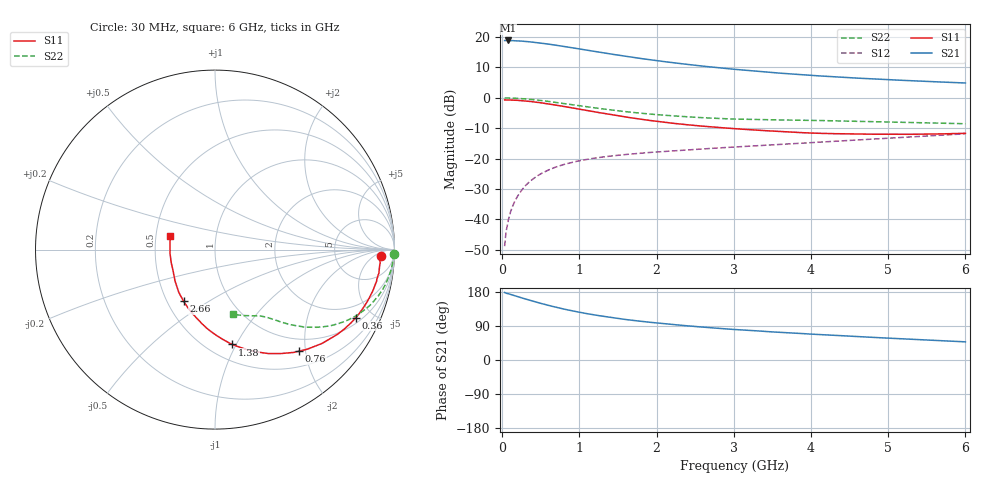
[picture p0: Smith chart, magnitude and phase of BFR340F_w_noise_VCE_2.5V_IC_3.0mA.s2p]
! Infineon Technologies  Discrete & RF Semiconductors
! BFR340F
! VCE =  2.5 V,  IC =  3.0 mA
! Common Emitter S-Parameters:  Nov 2015
# GHz  S  MA  R  50
!  f  S11  S21  S12  S22
! GHz  MAG  ANG  MAG  ANG  MAG  ANG  MAG  ANG
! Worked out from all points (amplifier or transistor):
!   206 points, 30 MHz to 6 GHz, reference 50 ohm
!   highest |S21| = 18.9 dB at 70 MHz (marker M1)
!   |S21| within 3 dB of that: start of sweep to 1.05 GHz
!   unconditionally stable (mu >= 1): 3.932 GHz to end of sweep
!   at 200 MHz: K = 0.08, MSG = 25.5 dB, |S12| = -32.3 dB
!   at 1.56 GHz: K = 0.61, MSG = 16.3 dB, |S12| = -18.8 dB
!   at 6 GHz: K = 1.02, MAG = 7.4 dB, |S12| = -11.8 dB
!   lowest NFmin = 0.90 dB at 450 MHz
!   S11 on the Smith chart (normalised r, x): 30 MHz: 20, -10; 360 MHz: 1.26, -3.99; 760 MHz: 0.77, -1.88; 1.38 GHz: 0.65, -0.97; 2.66 GHz: 0.61, -0.39; 6 GHz: 0.60, +0.10
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0.03  0.924 -2.2  8.791 178.2  0.0036 89.3  0.9948 -1.3
0.05  0.9203 -3.7  8.744 176.2  0.0063 88.7  0.9943 -2.3
0.07  0.9217 -5.3  8.811 175.1  0.0085 86.9  0.9939 -3.2
0.08  0.9215 -5.9  8.769 174.9  0.0099 86.3  0.9934 -3.7
0.11  0.9232 -8.1  8.74 173.0  0.0136 85.1  0.9909 -5.0
0.2  0.9087 -14.7  8.68 167.2  0.0242 81.6  0.9791 -9.1
0.36  0.8716 -25.8  8.357 157.4  0.0421 75.4  0.9446 -16.0
0.48  0.8346 -33.6  8.027 150.5  0.0542 71.2  0.9105 -20.6
0.6  0.7933 -41.2  7.671 144.0  0.0649 67.5  0.8721 -24.8
0.76  0.7347 -50.3  7.143 136.2  0.0771 63.2  0.8182 -29.6
0.9  0.6847 -57.8  6.699 130.0  0.0863 60.2  0.7721 -33.3
1.04  0.637 -64.7  6.267 124.5  0.094 57.7  0.7288 -36.3
1.2  0.5865 -72.1  5.808 118.7  0.1017 55.4  0.6826 -39.3
1.38  0.537 -79.6  5.332 113.0  0.1089 53.5  0.6374 -42.1
1.62  0.4785 -89.0  4.79 106.3  0.1172 51.7  0.5873 -45.1
2.02  0.4074 -102.3  4.068 97.3  0.1288 50.4  0.5267 -48.8
2.34  0.3661 -112.4  3.625 91.2  0.1374 50.1  0.4919 -51.2
2.66  0.3358 -121.5  3.265 85.8  0.1457 50.3  0.466 -53.5
3.1  0.3049 -132.6  2.882 79.4  0.1572 50.9  0.4445 -56.2
4.1  0.2604 -154.3  2.3 67.3  0.186 52.9  0.4231 -60.7
5.1  0.251 -177.0  1.964 56.7  0.22 54.2  0.3972 -67.5
6  0.2604 163.1  1.755 47.9  0.2556 54.5  0.3741 -74.8
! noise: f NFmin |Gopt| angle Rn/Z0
0.45  0.9  0.62  3  0.38
0.9  0.9  0.59  12  0.41
1.9  1.18  0.46  23  0.37
2.4  1.27  0.43  32  0.35
